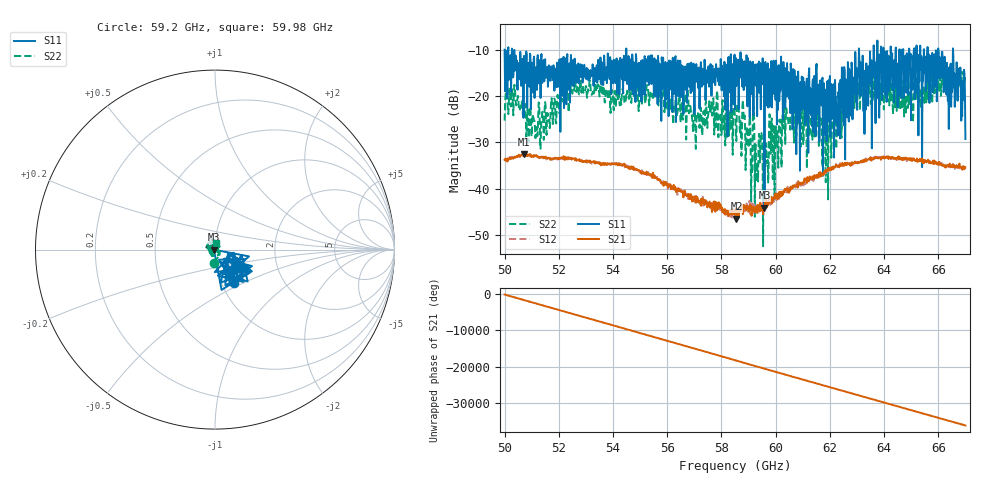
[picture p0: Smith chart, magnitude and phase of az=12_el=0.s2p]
!Created with skrf (http://scikit-rf.org).
# GHz S RI R 50.0
!freq ReS11 ImS11 ReS21 ImS21 ReS12 ImS12 ReS22 ImS22
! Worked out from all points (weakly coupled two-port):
!   1001 points, 50 GHz to 67 GHz, reference 50 ohm
!   highest |S21| = -32.54 dB at 50.7 GHz (marker M1); lowest = -46.4 dB at 58.55 GHz (marker M2)
!   lowest |S11| = -44.0 dB at 59.59 GHz (marker M3), VSWR 1.01, Z = 49.4 - j0.0502 ohm
!   |S11| at or under -10 dB: 50.27 GHz to 54.49 GHz (4.215 GHz wide, 8.05 % of centre); 54.49 GHz to 63.07 GHz (8.583 GHz wide, 14.6 % of centre); 63.07 GHz to 63.61 GHz (540.2 MHz wide, 0.853 % of centre) (the widest 3 of 21)
!   |S22| runs from -52.3 to -14.0 dB; largest |S21 - S12| = 0.0021
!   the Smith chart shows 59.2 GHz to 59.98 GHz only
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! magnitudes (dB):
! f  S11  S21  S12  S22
! 50 GHz  -10.0  -33.8  -33.9  -25.3
! 50.7 GHz  -24.7  -32.5  -32.5  -23.6
! 51.38 GHz  -16.9  -33.1  -33.2  -24.3
! 52.84 GHz  -14.1  -33.9  -33.7  -19.3
! 55.68 GHz  -13.4  -37.9  -37.5  -22.1
! 56.99 GHz  -14.7  -41.8  -41.9  -22.1
! 58.5 GHz  -22.9  -45.3  -45.6  -24.7
! 58.55 GHz  -17.9  -46.4  -44.6  -29.7
! 59.59 GHz  -44.0  -43.8  -43.5  -29.9
! 59.84 GHz  -12.5  -42.6  -42.3  -25.7
! 60.64 GHz  -14.2  -39.3  -39.8  -22.8
! 61.34 GHz  -26.4  -37.9  -37.7  -26.4
! 61.92 GHz  -18.0  -36.1  -36.0  -26.4
! 62.55 GHz  -14.6  -34.7  -34.7  -19.6
! 63.01 GHz  -23.0  -34.3  -34.4  -19.9
! 63.33 GHz  -22.9  -33.8  -33.4  -19.2
! 63.69 GHz  -25.8  -33.3  -33.3  -16.3
! 64.18 GHz  -19.0  -33.2  -33.3  -18.6
! 66.08 GHz  -16.0  -34.7  -34.4  -15.6
! 66.42 GHz  -15.8  -34.6  -35.0  -16.3
! 66.75 GHz  -17.6  -35.4  -35.0  -18.4
! 67 GHz  -29.3  -35.4  -35.2  -15.7
